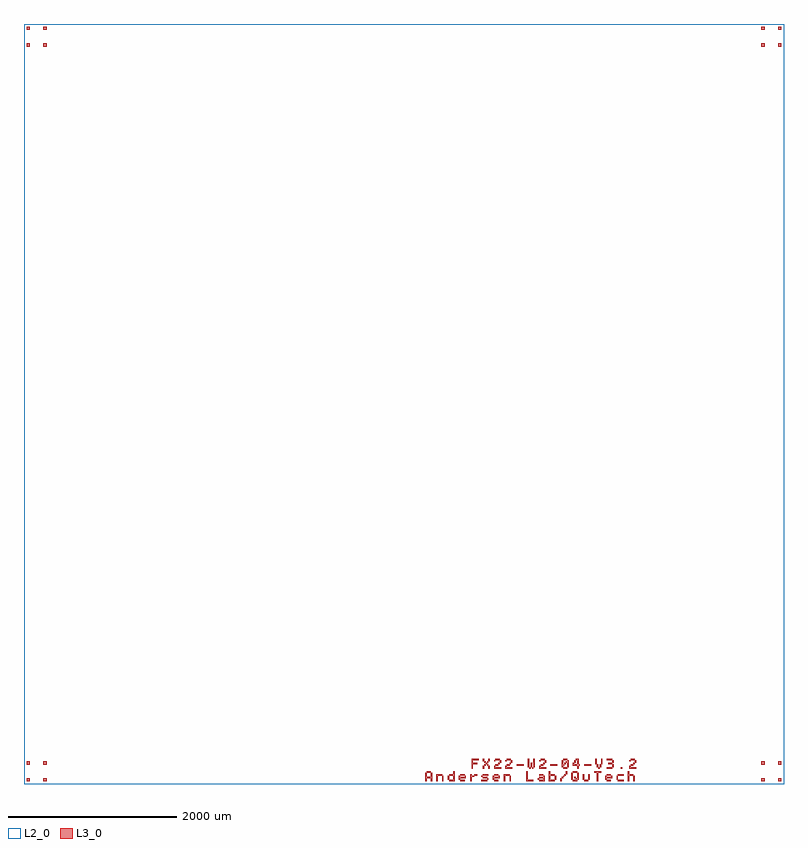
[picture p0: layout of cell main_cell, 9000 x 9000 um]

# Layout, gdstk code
import gdstk
lib = gdstk.Library(unit=1e-6, precision=1e-09)
def R(c, l, rs):  # rectangles x0, y0, x1, y1
    for r in rs: c.add(gdstk.rectangle(r[:2], r[2:], *l))
def A(c, l, x, y, w, h, nx, ny, dx, dy):  # array of equal rectangles
    R(c, l, [(x+i*dx, y+j*dy, x+i*dx+w, y+j*dy+h) for i in range(nx) for j in range(ny)])
def P(c, l, *ps):  # polygons
    for p in ps: c.add(gdstk.Polygon(p, *l))
L2_0 = (2, 0)
L3_0 = (3, 0)

main_cell = lib.new_cell('main_cell')
R(main_cell, L2_0, [(500,-9500,9500,-500)])
A(main_cell, L3_0, 6333.333, -9283.333, 83.334, 16.666, 3, 1, 400, 0)
R(main_cell, L3_0, [(530,-9470,570,-9430), (530,-9470,570,-9430), (530,-9470,570,-9430), (530,-9470,570,-9430), (530,-9470,570,-9430), (530,-9470,570,-9430), (730,-9470,770,-9430), (730,-9470,770,-9430), (730,-9470,770,-9430), (730,-9470,770,-9430), (730,-9470,770,-9430), (730,-9470,770,-9430), (9230,-9470,9270,-9430), (9230,-9470,9270,-9430), (9430,-9470,9470,-9430), (9430,-9470,9470,-9430), (5450,-9466.667,5466.667,-9400), (5666.667,-9466.667,5716.667,-9450), (5916.667,-9466.667,5983.333,-9450), (6066.667,-9466.667,6116.667,-9450), (6250,-9466.667,6266.667,-9400), (6850,-9466.667,6866.667,-9433.333), (7133.333,-9466.667,7183.333,-9450), (7400,-9466.667,7450,-9450), (7533.333,-9466.667,7600,-9450), (7716.667,-9466.667,7733.333,-9400), (5516.667,-9450,5533.333,-9400), (5983.333,-9450,6000,-9433.333), (6583.333,-9450,6600,-9433.333), (6783.333,-9450,6800,-9400), (6983.333,-9450,7000,-9366.667), (7116.667,-9450,7133.333,-9383.333), (7183.333,-9450,7200,-9383.333), (7516.667,-9450,7533.333,-9400), (5933.333,-9433.333,5983.333,-9416.667), (6866.667,-9433.333,6883.333,-9416.667), (7016.667,-9433.333,7033.333,-9416.667), (5916.667,-9416.667,5933.333,-9400), (6883.333,-9416.667,6900,-9400), (5666.667,-9400,5716.667,-9383.333), (5833.333,-9400,5866.667,-9383.333), (5933.333,-9400,6000,-9383.333), (6066.667,-9400,6116.667,-9383.333), (6600,-9400,6650,-9383.333), (6900,-9400,6916.667,-9383.333), (7400,-9400,7450,-9383.333), (7533.333,-9400,7600,-9383.333), (6916.667,-9383.333,6933.333,-9350), (5266.667,-9366.667,5316.667,-9350), (7000,-9366.667,7050,-9350), (5933.333,-9316.667,5950,-9283.333), (6000,-9316.667,6016.667,-9283.333), (6483.333,-9316.667,6500,-9300), (6516.667,-9316.667,6533.333,-9300), (6883.333,-9316.667,6933.333,-9300), (7300,-9316.667,7316.667,-9300), (7400,-9316.667,7466.667,-9300), (7566.667,-9316.667,7583.333,-9300), (6466.667,-9300,6483.333,-9200), (6500,-9300,6516.667,-9250), (6533.333,-9300,6550,-9200), (7283.333,-9300,7300,-9266.667), (7316.667,-9300,7333.333,-9266.667), (7466.667,-9300,7483.333,-9266.667), (5950,-9283.333,5966.667,-9266.667), (5983.333,-9283.333,6000,-9266.667), (6083.333,-9283.333,6116.667,-9266.667), (6216.667,-9283.333,6250,-9266.667), (6616.667,-9283.333,6650,-9266.667), (7683.333,-9283.333,7716.667,-9266.667), (530,-9270,570,-9230), (530,-9270,570,-9230), (530,-9270,570,-9230), (530,-9270,570,-9230), (530,-9270,570,-9230), (530,-9270,570,-9230), (730,-9270,770,-9230), (730,-9270,770,-9230), (730,-9270,770,-9230), (730,-9270,770,-9230), (730,-9270,770,-9230), (730,-9270,770,-9230), (9230,-9270,9270,-9230), (9230,-9270,9270,-9230), (9430,-9270,9470,-9230), (9430,-9270,9470,-9230), (5966.667,-9266.667,5983.333,-9250), (6116.667,-9266.667,6133.333,-9250), (6250,-9266.667,6266.667,-9250), (6650,-9266.667,6666.667,-9250), (6900,-9266.667,6916.667,-9250), (7266.667,-9266.667,7283.333,-9200), (7333.333,-9266.667,7350,-9200), (7416.667,-9266.667,7466.667,-9250), (7716.667,-9266.667,7733.333,-9250), (5950,-9250,5966.667,-9233.333), (5983.333,-9250,6000,-9233.333), (6133.333,-9250,6150,-9216.667), (6266.667,-9250,6283.333,-9216.667), (6666.667,-9250,6683.333,-9216.667), (7016.667,-9250,7033.333,-9216.667), (7466.667,-9250,7483.333,-9216.667), (7733.333,-9250,7750,-9216.667), (5933.333,-9233.333,5950,-9200), (6000,-9233.333,6016.667,-9200), (6066.667,-9233.333,6083.333,-9216.667), (6200,-9233.333,6216.667,-9216.667), (6600,-9233.333,6616.667,-9216.667), (7666.667,-9233.333,7683.333,-9216.667), (6083.333,-9216.667,6133.333,-9200), (6216.667,-9216.667,6266.667,-9200), (6616.667,-9216.667,6666.667,-9200), (6883.333,-9216.667,6933.333,-9200), (7400,-9216.667,7466.667,-9200), (7683.333,-9216.667,7733.333,-9200), (530,-770,570,-730), (530,-770,570,-730), (730,-770,770,-730), (730,-770,770,-730), (9230,-770,9270,-730), (9230,-770,9270,-730), (9230,-770,9270,-730), (9230,-770,9270,-730), (9230,-770,9270,-730), (9230,-770,9270,-730), (9430,-770,9470,-730), (9430,-770,9470,-730), (9430,-770,9470,-730), (9430,-770,9470,-730), (9430,-770,9470,-730), (9430,-770,9470,-730), (530,-570,570,-530), (530,-570,570,-530), (730,-570,770,-530), (730,-570,770,-530), (9230,-570,9270,-530), (9230,-570,9270,-530), (9230,-570,9270,-530), (9230,-570,9270,-530), (9230,-570,9270,-530), (9230,-570,9270,-530), (9430,-570,9470,-530), (9430,-570,9470,-530), (9430,-570,9470,-530), (9430,-570,9470,-530), (9430,-570,9470,-530), (9430,-570,9470,-530)])
P(main_cell, L3_0, [(5250,-9466.667),(5250,-9366.667),(5266.667,-9366.667),(5266.667,-9416.667),(5316.667,-9416.667),(5316.667,-9366.667),(5333.333,-9366.667),(5333.333,-9466.667),(5316.667,-9466.667),(5316.667,-9433.333),(5266.667,-9433.333),(5266.667,-9466.667)],
  [(5383.333,-9466.667),(5383.333,-9383.333),(5450,-9383.333),(5450,-9400),(5400,-9400),(5400,-9466.667)],
  [(5533.333,-9466.667),(5533.333,-9450),(5583.333,-9450),(5583.333,-9400),(5533.333,-9400),(5533.333,-9383.333),(5583.333,-9383.333),(5583.333,-9350),(5600,-9350),(5600,-9466.667)],
  [(5650,-9450),(5650,-9400),(5666.667,-9400),(5666.667,-9416.667),(5716.667,-9416.667),(5716.667,-9400),(5733.333,-9400),(5733.333,-9433.333),(5666.667,-9433.333),(5666.667,-9450)],
  [(5783.333,-9466.667),(5783.333,-9383.333),(5800,-9383.333),(5800,-9400),(5833.333,-9400),(5833.333,-9416.667),(5800,-9416.667),(5800,-9466.667)],
  [(6050,-9450),(6050,-9400),(6066.667,-9400),(6066.667,-9416.667),(6116.667,-9416.667),(6116.667,-9400),(6133.333,-9400),(6133.333,-9433.333),(6066.667,-9433.333),(6066.667,-9450)],
  [(6183.333,-9466.667),(6183.333,-9383.333),(6250,-9383.333),(6250,-9400),(6200,-9400),(6200,-9466.667)],
  [(6450,-9466.667),(6450,-9350),(6466.667,-9350),(6466.667,-9450),(6533.333,-9450),(6533.333,-9466.667)],
  [(6600,-9466.667),(6600,-9450),(6650,-9450),(6650,-9433.333),(6600,-9433.333),(6600,-9416.667),(6650,-9416.667),(6650,-9400),(6666.667,-9400),(6666.667,-9466.667)],
  [(6716.667,-9466.667),(6716.667,-9350),(6733.333,-9350),(6733.333,-9383.333),(6783.333,-9383.333),(6783.333,-9400),(6733.333,-9400),(6733.333,-9450),(6783.333,-9450),(6783.333,-9466.667)],
  [(7000,-9466.667),(7000,-9450),(7033.333,-9450),(7033.333,-9433.333),(7050,-9433.333),(7050,-9366.667),(7066.667,-9366.667),(7066.667,-9450),(7050,-9450),(7050,-9466.667)],
  [(7283.333,-9466.667),(7283.333,-9366.667),(7250,-9366.667),(7250,-9350),(7333.333,-9350),(7333.333,-9366.667),(7300,-9366.667),(7300,-9466.667)],
  [(7383.333,-9450),(7383.333,-9400),(7400,-9400),(7400,-9416.667),(7450,-9416.667),(7450,-9400),(7466.667,-9400),(7466.667,-9433.333),(7400,-9433.333),(7400,-9450)],
  [(7650,-9466.667),(7650,-9350),(7666.667,-9350),(7666.667,-9383.333),(7716.667,-9383.333),(7716.667,-9400),(7666.667,-9400),(7666.667,-9466.667)],
  [(5800,-9316.667),(5800,-9200),(5883.333,-9200),(5883.333,-9216.667),(5816.667,-9216.667),(5816.667,-9250),(5866.667,-9250),(5866.667,-9266.667),(5816.667,-9266.667),(5816.667,-9316.667)],
  [(6066.667,-9316.667),(6066.667,-9283.333),(6083.333,-9283.333),(6083.333,-9300),(6150,-9300),(6150,-9316.667)],
  [(6200,-9316.667),(6200,-9283.333),(6216.667,-9283.333),(6216.667,-9300),(6283.333,-9300),(6283.333,-9316.667)],
  [(6600,-9316.667),(6600,-9283.333),(6616.667,-9283.333),(6616.667,-9300),(6683.333,-9300),(6683.333,-9316.667)],
  [(6866.667,-9300),(6866.667,-9216.667),(6883.333,-9216.667),(6883.333,-9266.667),(6900,-9266.667),(6900,-9283.333),(6883.333,-9283.333),(6883.333,-9300)],
  [(6933.333,-9300),(6933.333,-9250),(6916.667,-9250),(6916.667,-9233.333),(6933.333,-9233.333),(6933.333,-9216.667),(6950,-9216.667),(6950,-9300)],
  [(7050,-9316.667),(7050,-9283.333),(7000,-9283.333),(7000,-9250),(7016.667,-9250),(7016.667,-9266.667),(7050,-9266.667),(7050,-9216.667),(7033.333,-9216.667),(7033.333,-9200),(7066.667,-9200),(7066.667,-9266.667),(7083.333,-9266.667),(7083.333,-9283.333),(7066.667,-9283.333),(7066.667,-9316.667)],
  [(7666.667,-9316.667),(7666.667,-9283.333),(7683.333,-9283.333),(7683.333,-9300),(7750,-9300),(7750,-9316.667)])

lib.write_gds('main_cell.gds')
